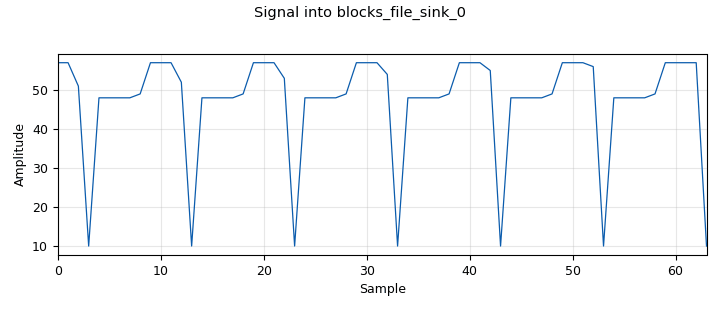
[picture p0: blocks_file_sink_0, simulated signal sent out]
options:
  parameters:
    generate_options: no_gui
    id: test
    output_language: python
    title: Not titled yet
  states: {}

blocks:
- name: samp_rate
  id: variable
  parameters:
    value: '2000'
  states: {}
- name: blocks_file_sink_0
  id: blocks_file_sink
  parameters:
    file: out.txt
    type: byte
  states: {}
- name: blocks_throttle_0
  id: blocks_throttle
  parameters:
    samples_per_second: samp_rate
    type: byte
  states: {}
- name: epy_block_0
  id: epy_block
  parameters:
    _source_code: "\"\"\"\nEmbedded Python Blocks:\n\nEach time this file is saved, GRC will instantiate the first class it finds\nto get ports and parameters of your block. The arguments to __init__  will\nbe the parameters. All of them are required to have default values!\n\"\"\"\n\nimport numpy as np\nimport codecs\nfrom gnuradio import gr\n\n\nclass blk(gr.sync_block):  \n    \"\"\"Just prints to stdout the bytes it receives (as UTF-8 characters)\"\"\"\n\n    def __init__(self):  # No parameters\n        \"\"\"arguments to this function show up as parameters in GRC\"\"\"\n        gr.sync_block.__init__(\n            self,\n            name='Print',    # will show up in GRC\n            in_sig=[np.byte], # takes in bytes\n            out_sig=None     # no output\n        )\n\n    def work(self, input_items, output_items):\n        dataBytes = bytes(input_items[0]) # converts to an array of bytes\n        str = dataBytes.decode(encoding='UTF-8')  # converts to string\n        print(str,end='')\n        return len(input_items[0])\n\n"
  states: {}
- name: epy_block_1
  id: epy_block
  parameters:
    _source_code: "\"\"\"\nEmbedded Python Blocks:\n\nEach time this file is saved, GRC will instantiate the first class it finds\nto get ports and parameters of your block. The arguments to __init__  will\nbe the parameters. All of them are required to have default values!\n\"\"\"\n\nimport numpy as np\nfrom gnuradio import gr\n\nWORK_DONE = -1 # GRC magic value to stop a block from being queried\n\nclass blk(gr.sync_block):  \n    \"\"\" Sequence number traffic generator: \n        - generates maxCount sequence numbers of length\n          digits each (plus a <cr> at the end of each sequence number)\n    \"\"\"\n\n    def __init__(self, maxCount=2000 , digits=9): \n        gr.sync_block.__init__(\n            self,\n            name='Generator',   # will show up in GRC\n            in_sig=None,        # no inputs\n            out_sig=[np.byte]   # spits out bytes\n        )\n        self._maxCount = maxCount # how many lines of output will be generated\n        self._counter = 0 # this is the current counter\n        self._done = False # True when we're done counting\n        self._digits = digits # how many digits for each sequence number\n        self._leftOver = [] # handles short requests\n\n    def work(self, input_items, output_items):\n\n        stringLength = self._digits+1  # how long is each string\n        howManyNeeded = len(output_items[0])\n        numbers = int(np.floor(howManyNeeded/(stringLength)))\n        howManyWillGive=numbers*(stringLength)\n        fmt='%'+\"0%dd\\n\"%(self._digits)\n\n        if len(self._leftOver) > 0:  # we have bytes left over\n            offset = len(self._leftOver)\n            output_items[0][0:offset]=self._leftOver\n            self._leftOver=[]\n#            print(f\"Returing left overs {offset}\")\n            return offset\n            \n        if self._done:\n#            print(\"I'm done!\")\n            return WORK_DONE\n\n#        print(f\"It wants {howManyNeeded}\")\n#        print(f\"I'll give it {howManyWillGive}\")\n\n        for i in range(numbers): # only executed when numbers > 0\n            str=fmt%self._counter\n            daBytes = np.fromstring(str,dtype=np.byte)\n            output_items[0][i*stringLength:(i+1)*stringLength]=daBytes\n            self._counter=self._counter+1\n            if self._counter >= self._maxCount:\n                self._done = True\n#                print(f\"No more, returning {(i+1)*stringLength}\")\n                return (i+1)*stringLength\n\n        if (numbers==0): # it wants less than one sequence number\n            str=fmt%self._counter\n            daBytes = np.fromstring(str,dtype=np.byte)\n            output_items[0][:]=daBytes[0:howManyNeeded]\n            self._leftOver=daBytes[howManyNeeded:]\n            self._counter=self._counter+1\n            if self._counter >= self._maxCount:\n                self._done = True\n#            print(f\"Returning {howManyNeeded}\")\n            return howManyNeeded\n        else:\n            self._leftOver = []\n#            print(f\"Lots more, returning {(i+1)*stringLength}\")\n            return (i+1)*stringLength\n\n"
    digits: '9'
    maxCount: '30000'
  states: {}

connections:
- [blocks_throttle_0, '0', blocks_file_sink_0, '0']
- [blocks_throttle_0, '0', epy_block_0, '0']
- [epy_block_1, '0', blocks_throttle_0, '0']

metadata:
  file_format: 1
